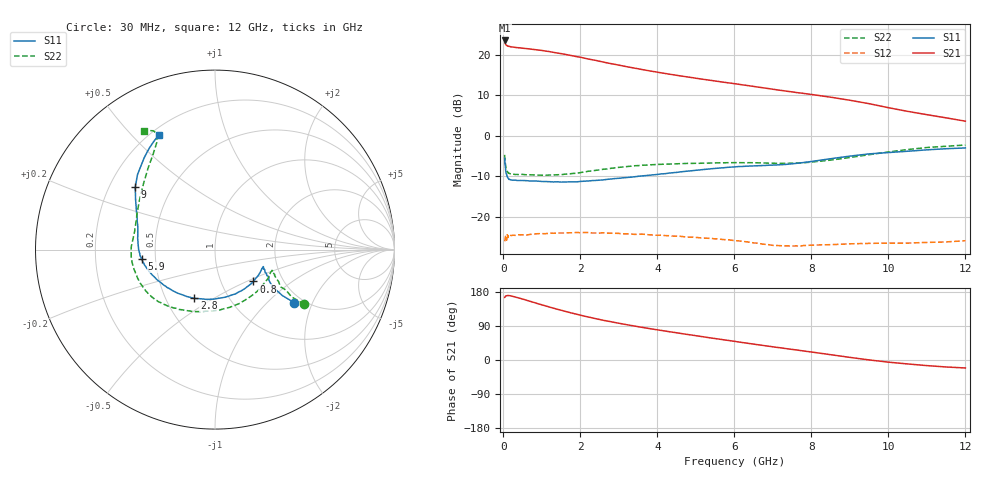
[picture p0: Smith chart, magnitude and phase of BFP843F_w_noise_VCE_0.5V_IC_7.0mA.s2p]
! Infineon Technologies  Discrete & RF Semiconductors
! BFP843F
! VCE =  0.5 V,  IC =  7.0 mA
! Common Emitter S-Parameters:  Aug 2013
# GHz  S  MA  R  50
!  f  S11  S21  S12  S22
! GHz  MAG  ANG  MAG  ANG  MAG  ANG  MAG  ANG
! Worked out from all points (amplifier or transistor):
!   103 points, 30 MHz to 12 GHz, reference 50 ohm
!   highest |S21| = 23.6 dB at 30 MHz (marker M1)
!   |S21| within 3 dB of that: start of sweep to 1.337 GHz
!   unconditionally stable (mu >= 1): 251.3 MHz to 377.2 MHz; 3.893 GHz to end of sweep
!   at 400 MHz: K = 1.00, MSG = 23.1 dB, |S12| = -24.4 dB
!   at 3.7 GHz: K = 0.98, MSG = 20.3 dB, |S12| = -24.3 dB
!   at 12 GHz: K = 1.54, MAG = 10.4 dB, |S12| = -25.9 dB
!   lowest NFmin = 0.80 dB at 450 MHz
!   S11 on the Smith chart (normalised r, x): 30 MHz: 1.80, -1.48; 800 MHz: 1.42, -0.55; 2.8 GHz: 0.69, -0.41; 5.9 GHz: 0.42, -0.05; 9 GHz: 0.31, +0.31; 12 GHz: 0.23, +0.60
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0.03  0.5317 -33.8  15.09 165.1  0.05 32.8  0.5842 -31.5
0.04  0.4537 -34.3  14.28 165.7  0.0527 25.3  0.5015 -31.7
0.05  0.4109 -33.5  13.7 168.1  0.0569 22.1  0.4544 -29.7
0.07  0.3442 -29.5  13.22 169.3  0.0592 13.2  0.3966 -26.7
0.1  0.3142 -24.6  12.9 169.9  0.0605 11.8  0.3608 -23.3
0.15  0.2917 -21.5  12.77 170.0  0.0598 7.4  0.3456 -20.2
0.8  0.2783 -39.6  11.66 151.6  0.0615 2.8  0.3302 -45.6
1  0.2739 -48.6  11.36 145.5  0.0622 1.5  0.3276 -56.0
1.4  0.2719 -65.5  10.55 133.9  0.0633 -0.4  0.332 -76.0
1.7  0.2711 -77.8  9.962 125.8  0.0638 -1.0  0.3398 -89.7
2.1  0.2765 -92.5  9.131 115.8  0.0643 -3.6  0.3591 -105.9
2.8  0.2946 -113.0  7.801 100.9  0.0631 -6.7  0.399 -125.4
3.5  0.3177 -129.6  6.75 87.9  0.061 -8.7  0.4306 -138.8
4.1  0.34 -141.6  6.011 78.0  0.0596 -10.6  0.4465 -147.7
5  0.3771 -157.9  5.158 64.1  0.056 -12.8  0.4599 -160.1
5.9  0.4122 -172.4  4.486 50.8  0.0519 -14.3  0.4676 -172.7
6.1  0.4189 -175.4  4.351 47.7  0.0507 -13.7  0.4684 -175.4
7.1  0.4391 168.3  3.712 33.4  0.0444 -10.0  0.4597 170.8
8.5  0.5235 147.7  3.009 14.0  0.0455 -0.4  0.5034 146.7
9  0.5639 142.0  2.759 6.9  0.0466 0.5  0.542 137.3
10.5  0.6475 127.4  2.012 -10.4  0.0476 4.4  0.6795 118.5
12  0.711 116.0  1.522 -21.1  0.0509 11.7  0.7733 120.9
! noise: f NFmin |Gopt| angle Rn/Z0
0.45  0.8  0.09  13  0.04
0.9  0.8  0.09  25  0.05
1.5  0.85  0.09  37  0.05
1.9  0.91  0.09  52  0.06
2.4  0.95  0.1  68  0.06
3.5  1.01  0.12  99  0.12
5.5  1.12  0.16  167  0.16
10  1.75  0.37  -120  0.25
